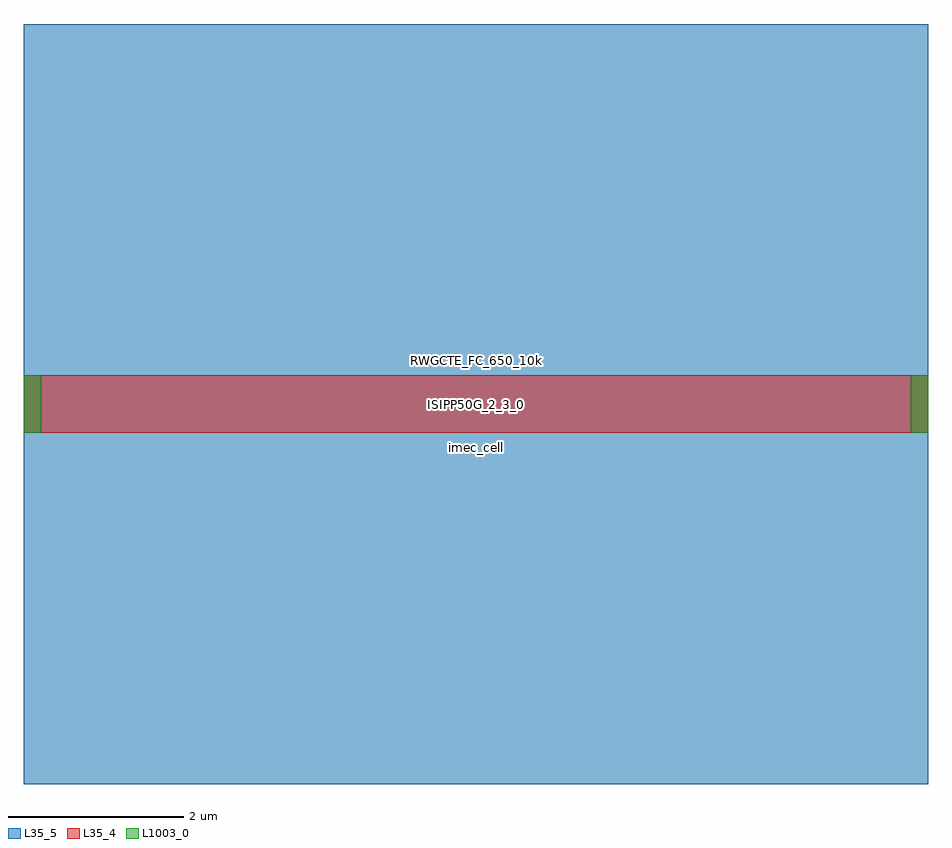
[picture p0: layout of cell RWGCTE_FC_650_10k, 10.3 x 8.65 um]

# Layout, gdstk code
import gdstk
lib = gdstk.Library(unit=1e-6, precision=1e-09)
def R(c, l, rs):  # rectangles x0, y0, x1, y1
    for r in rs: c.add(gdstk.rectangle(r[:2], r[2:], *l))
L35_4 = (35, 4)
L35_5 = (35, 5)
L1003_0 = (1003, 0)

rwgcte_fc_650_10k = lib.new_cell('RWGCTE_FC_650_10k')
R(rwgcte_fc_650_10k, L35_4, [(-0.15,-0.325,0,0.325), (0,-0.325,10,0.325), (10,-0.325,10.15,0.325)])
R(rwgcte_fc_650_10k, L35_5, [(-0.15,-4.325,0,4.325), (0,-4.325,10,4.325), (10,-4.325,10.15,4.325)])
R(rwgcte_fc_650_10k, L1003_0, [(-0.15,-0.325,0,0.325), (0,-0.325,0.05,0.325), (9.95,-0.325,10,0.325), (10,-0.325,10.15,0.325)])
rwgcte_fc_650_10k.add(gdstk.Label('RWGCTE_FC_650_10k', (5,0.5), layer=1002, texttype=0))
rwgcte_fc_650_10k.add(gdstk.Label('ISIPP50G_2_3_0', (5,0), layer=1002, texttype=0))
rwgcte_fc_650_10k.add(gdstk.Label('imec_cell', (5,-0.5), layer=1002, texttype=0))

lib.write_gds('RWGCTE_FC_650_10k.gds')
